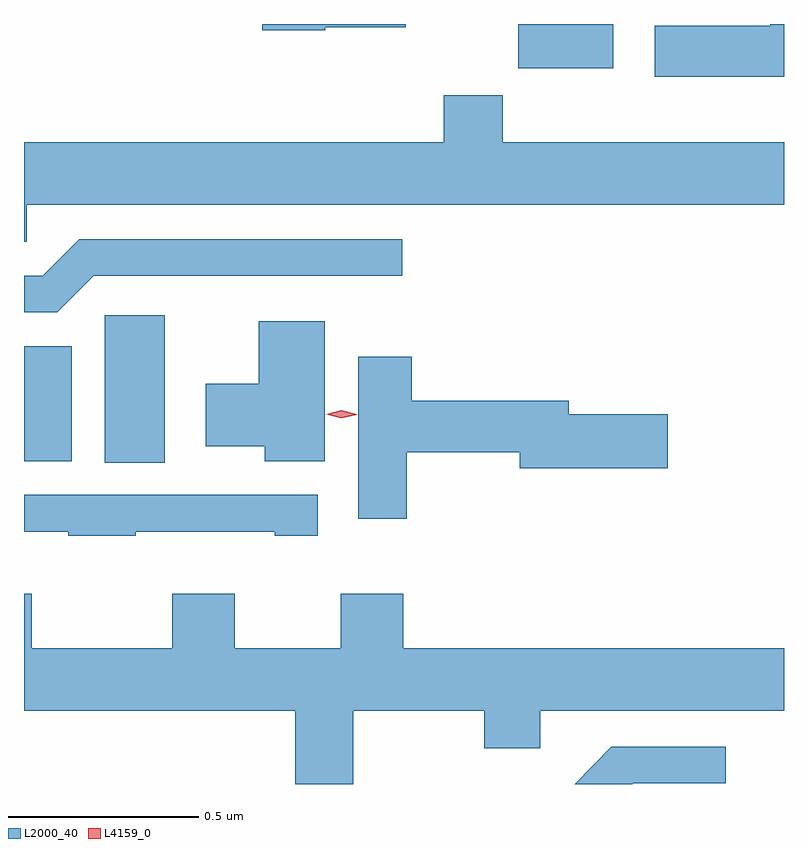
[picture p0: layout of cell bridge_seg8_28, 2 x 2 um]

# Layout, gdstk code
import gdstk
lib = gdstk.Library(unit=1e-6, precision=1e-09)
def R(c, l, rs):  # rectangles x0, y0, x1, y1
    for r in rs: c.add(gdstk.rectangle(r[:2], r[2:], *l))
def P(c, l, *ps):  # polygons
    for p in ps: c.add(gdstk.Polygon(p, *l))
L2000_40 = (2000, 40)
L4159_0 = (4159, 0)

bridge_seg8_28 = lib.new_cell('bridge_seg8_28')
R(bridge_seg8_28, L2000_40, [(1117.964,1154.449,1118.122,1154.836), (1117.751,1154.453,1117.876,1154.755), (1119.052,1155.486,1119.301,1155.603)])
P(bridge_seg8_28, L2000_40, [(1119.751,1155.603),(1119.715,1155.603),(1119.715,1155.598),(1119.411,1155.598),(1119.411,1155.464),(1119.751,1155.464)],
  [(1118.544,1155.594),(1118.756,1155.594),(1118.756,1155.603),(1118.378,1155.603),(1118.378,1155.586),(1118.544,1155.586)],
  [(1117.758,1155.128),(1119.751,1155.128),(1119.751,1155.292),(1119.011,1155.292),(1119.011,1155.416),(1118.855,1155.416),(1118.855,1155.292),(1117.751,1155.292),(1117.751,1155.03),(1117.758,1155.03)],
  [(1117.935,1154.94),(1118.746,1154.94),(1118.746,1155.036),(1117.896,1155.036),(1117.8,1154.94),(1117.751,1154.94),(1117.751,1154.844),(1117.839,1154.844)],
  [(1118.542,1154.821),(1118.369,1154.821),(1118.369,1154.656),(1118.229,1154.656),(1118.229,1154.492),(1118.384,1154.492),(1118.384,1154.453),(1118.542,1154.453)],
  [(1118.758,1154.476),(1119.056,1154.476),(1119.056,1154.434),(1119.445,1154.434),(1119.445,1154.576),(1119.184,1154.576),(1119.184,1154.612),(1118.771,1154.612),(1118.771,1154.728),(1118.63,1154.728),(1118.63,1154.301),(1118.758,1154.301)],
  [(1118.045,1154.267),(1118.411,1154.267),(1118.411,1154.256),(1118.524,1154.256),(1118.524,1154.364),(1117.751,1154.364),(1117.751,1154.267),(1117.867,1154.267),(1117.867,1154.256),(1118.045,1154.256)],
  [(1118.617,1153.796),(1118.962,1153.796),(1118.962,1153.697),(1119.109,1153.697),(1119.109,1153.796),(1119.751,1153.796),(1119.751,1153.96),(1118.749,1153.96),(1118.749,1154.104),(1118.585,1154.104),(1118.585,1153.96),(1118.305,1153.96),(1118.305,1154.104),(1118.141,1154.104),(1118.141,1153.96),(1117.771,1153.96),(1117.771,1154.104),(1117.751,1154.104),(1117.751,1153.796),(1118.465,1153.796),(1118.465,1153.603),(1118.617,1153.603)],
  [(1119.354,1153.605),(1119.598,1153.605),(1119.598,1153.701),(1119.297,1153.701),(1119.2,1153.603),(1119.352,1153.603)])
P(bridge_seg8_28, L4159_0, [(1118.586,1154.566),(1118.547,1154.576),(1118.547,1154.576),(1118.547,1154.576),(1118.586,1154.586),(1118.626,1154.576),(1118.626,1154.576),(1118.626,1154.575)])

lib.write_gds('bridge_seg8_28.gds')
